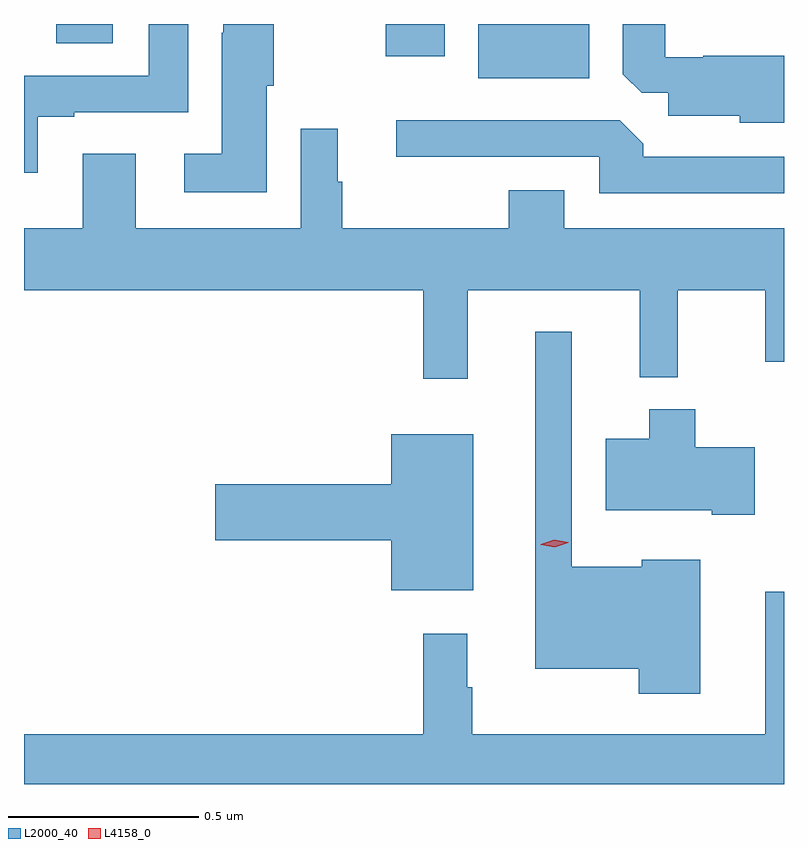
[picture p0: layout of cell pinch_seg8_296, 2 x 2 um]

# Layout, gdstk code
import gdstk
lib = gdstk.Library(unit=1e-6, precision=1e-09)
def R(c, l, rs):  # rectangles x0, y0, x1, y1
    for r in rs: c.add(gdstk.rectangle(r[:2], r[2:], *l))
def P(c, l, *ps):  # polygons
    for p in ps: c.add(gdstk.Polygon(p, *l))
L2000_40 = (2000, 40)
L4158_0 = (4158, 0)

pinch_seg8_296 = lib.new_cell('pinch_seg8_296')
R(pinch_seg8_296, L2000_40, [(523.892,1145.03,524.185,1145.173), (523.649,1145.088,523.804,1145.173), (522.782,1145.122,522.931,1145.173)])
P(pinch_seg8_296, L2000_40, [(522.733,1144.929),(522.829,1144.929),(522.829,1144.941),(523.129,1144.941),(523.129,1145.173),(523.025,1145.173),(523.025,1145.037),(522.697,1145.037),(522.697,1144.782),(522.733,1144.782)],
  [(523.336,1145.01),(523.354,1145.01),(523.354,1145.173),(523.221,1145.173),(523.221,1145.15),(523.217,1145.15),(523.217,1144.831),(523.119,1144.831),(523.119,1144.73),(523.336,1144.73)],
  [(524.697,1145.089),(524.485,1145.089),(524.485,1145.085),(524.385,1145.085),(524.385,1145.173),(524.273,1145.173),(524.273,1145.041),(524.322,1144.992),(524.393,1144.992),(524.393,1144.931),(524.58,1144.931),(524.58,1144.913),(524.697,1144.913)],
  [(524.697,1144.824),(524.327,1144.824),(524.327,1144.858),(524.265,1144.92),(523.677,1144.92),(523.677,1144.824),(524.211,1144.824),(524.211,1144.728),(524.697,1144.728)],
  [(523.865,1144.472),(524.318,1144.472),(524.318,1144.244),(524.418,1144.244),(524.418,1144.472),(524.648,1144.472),(524.648,1144.284),(524.697,1144.284),(524.697,1144.636),(524.119,1144.636),(524.119,1144.735),(523.972,1144.735),(523.972,1144.636),(523.534,1144.636),(523.534,1144.758),(523.522,1144.758),(523.522,1144.897),(523.425,1144.897),(523.425,1144.636),(522.991,1144.636),(522.991,1144.831),(522.851,1144.831),(522.851,1144.636),(522.697,1144.636),(522.697,1144.472),(523.747,1144.472),(523.747,1144.239),(523.865,1144.239)],
  [(524.476,1143.763),(524.322,1143.763),(524.322,1143.745),(524.139,1143.745),(524.139,1144.363),(524.042,1144.363),(524.042,1143.476),(524.315,1143.476),(524.315,1143.411),(524.476,1143.411)],
  [(524.62,1144.059),(524.464,1144.059),(524.464,1144.159),(524.342,1144.159),(524.342,1144.081),(524.228,1144.081),(524.228,1143.893),(524.507,1143.893),(524.507,1143.881),(524.62,1143.881)],
  [(523.879,1144.093),(523.664,1144.093),(523.664,1143.962),(523.2,1143.962),(523.2,1143.815),(523.664,1143.815),(523.664,1143.683),(523.879,1143.683)],
  [(524.697,1143.679),(524.648,1143.679),(524.648,1143.304),(523.876,1143.304),(523.876,1143.428),(523.864,1143.428),(523.864,1143.568),(523.747,1143.568),(523.747,1143.304),(522.697,1143.304),(522.697,1143.173),(524.697,1143.173)])
P(pinch_seg8_296, L4158_0, [(524.094,1143.796),(524.057,1143.803),(524.057,1143.803),(524.057,1143.804),(524.092,1143.816),(524.129,1143.809),(524.129,1143.808),(524.129,1143.808)])

lib.write_gds('pinch_seg8_296.gds')
